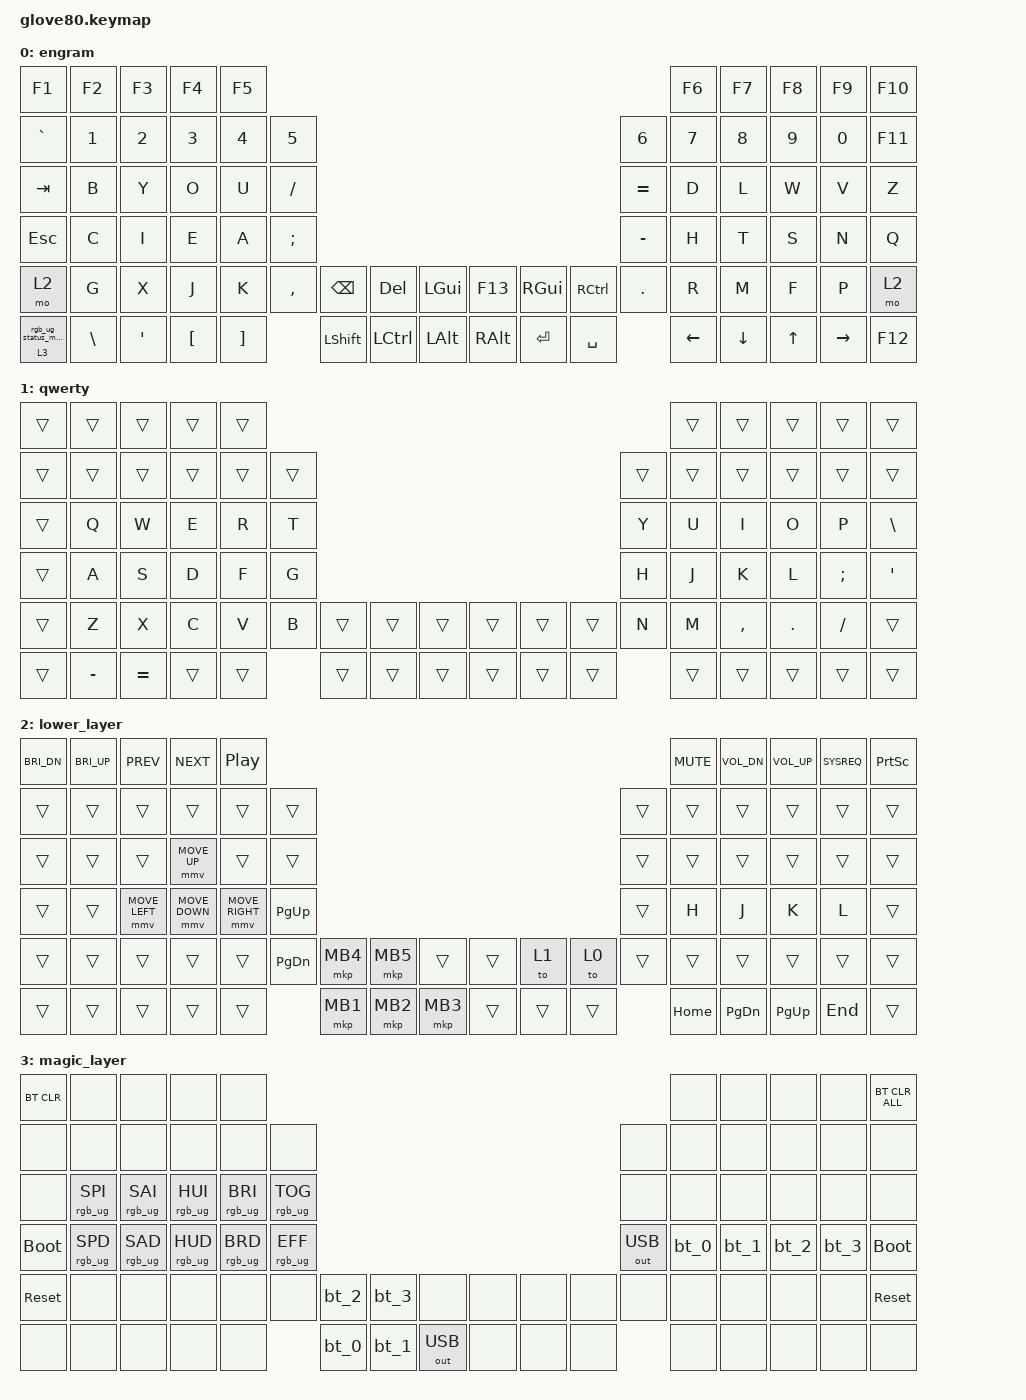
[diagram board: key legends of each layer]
/*
 * Copyright (c) 2020 The ZMK Contributors
 *
 * SPDX-License-Identifier: MIT
 */

#include <behaviors.dtsi>
#include <dt-bindings/zmk/bt.h>
#include <dt-bindings/zmk/keys.h>
#include <dt-bindings/zmk/outputs.h>
#include <dt-bindings/zmk/pointing.h>
#include <dt-bindings/zmk/rgb.h>

#define HYPER LC(LS(LG(LALT)))

// layers

#define DEFAULT 0
#define LOWER 1
#define MAGIC 2
#define FACTORY_TEST 3

/ {
    behaviors {
        // For the "layer" key, it'd nice to be able to use it as either a shift or a toggle.
        // Configure it as a tap dance, so the first tap (or hold) is a &mo and the second tap is a &to

        layer_td: tap_dance_0 {
            compatible = "zmk,behavior-tap-dance";
            label = "LAYER_TAP_DANCE";
            #binding-cells = <0>;
            tapping-term-ms = <200>;
            bindings = <&mo 2>, <&to 2>;
        };

        magic: magic_hold_tap {
            compatible = "zmk,behavior-hold-tap";
            label = "MAGIC_HOLD_TAP";
            #binding-cells = <2>;
            flavor = "tap-preferred";
            tapping-term-ms = <200>;
            bindings = <&mo>, <&rgb_ug_status_macro>;
        };

        skq: sticky_key_quick_release {
            compatible = "zmk,behavior-sticky-key";
            label = "Sticky Key Quick Release";
            bindings = <&kp>;
            #binding-cells = <1>;
            quick-release;
            release-after-ms = <1000>;
        };
    };

    macros {
        rgb_ug_status_macro: rgb_ug_status_macro_0 {
            label = "RGB_UG_STATUS";
            compatible = "zmk,behavior-macro";
            #binding-cells = <0>;
            bindings = <&rgb_ug RGB_STATUS>;
        };

        bt_0: bt_profile_macro_0 {
            label = "BT_0";
            compatible = "zmk,behavior-macro";
            #binding-cells = <0>;
            bindings = <&out OUT_BLE &bt BT_SEL 0>;
        };

        bt_1: bt_profile_macro_1 {
            label = "BT_1";
            compatible = "zmk,behavior-macro";
            #binding-cells = <0>;
            bindings = <&out OUT_BLE &bt BT_SEL 1>;
        };

        bt_2: bt_profile_macro_2 {
            label = "BT_2";
            compatible = "zmk,behavior-macro";
            #binding-cells = <0>;
            bindings = <&out OUT_BLE &bt BT_SEL 2>;
        };

        bt_3: bt_profile_macro_3 {
            label = "BT_3";
            compatible = "zmk,behavior-macro";
            #binding-cells = <0>;
            bindings = <&out OUT_BLE &bt BT_SEL 3>;
        };
    };

    keymap {
        compatible = "zmk,keymap";

        engram {
            bindings = <
&kp F1      &kp F2    &kp F3   &kp F4    &kp F5                                                                                                               &kp F6    &kp F7    &kp F8  &kp F9     &kp F10
&kp GRAVE   &kp N1    &kp N2   &kp N3    &kp N4    &kp N5                                                                                          &kp N6     &kp N7    &kp N8    &kp N9  &kp N0     &kp F11
&kp TAB     &kp B     &kp Y    &kp O     &kp U     &kp FSLH                                                                                        &kp EQUAL  &kp D     &kp L     &kp W   &kp V      &kp Z
&kp ESC     &kp C     &kp I    &kp E     &kp A     &kp SEMI                                                                                        &kp MINUS  &kp H     &kp T     &kp S   &kp N      &kp Q
&mo 2       &kp G     &kp X    &kp J     &kp K     &kp COMMA  &kp BSPC        &kp DEL    &kp LGUI      &kp F13        &kp RGUI  &kp RIGHT_CONTROL  &kp DOT    &kp R     &kp M     &kp F   &kp P      &mo 2
&magic 3 0  &kp BSLH  &kp SQT  &kp LBKT  &kp RBKT             &kp LEFT_SHIFT  &kp LCTRL  &kp LEFT_ALT  &kp RIGHT_ALT  &kp RET   &kp SPACE                     &kp LEFT  &kp DOWN  &kp UP  &kp RIGHT  &kp F12
            >;
        };

        qwerty {
            bindings = <
&trans  &trans     &trans     &trans  &trans                                                                  &trans  &trans     &trans   &trans    &trans
&trans  &trans     &trans     &trans  &trans  &trans                                                  &trans  &trans  &trans     &trans   &trans    &trans
&trans  &kp Q      &kp W      &kp E   &kp R   &kp T                                                   &kp Y   &kp U   &kp I      &kp O    &kp P     &kp BSLH
&trans  &kp A      &kp S      &kp D   &kp F   &kp G                                                   &kp H   &kp J   &kp K      &kp L    &kp SEMI  &kp APOS
&trans  &kp Z      &kp X      &kp C   &kp V   &kp B   &trans  &trans  &trans  &trans  &trans  &trans  &kp N   &kp M   &kp COMMA  &kp DOT  &kp FSLH  &trans
&trans  &kp MINUS  &kp EQUAL  &trans  &trans          &trans  &trans  &trans  &trans  &trans  &trans          &trans  &trans     &trans   &trans    &trans
            >;
        };

        lower_layer {
            bindings = <
&kp C_BRI_DN  &kp C_BRI_UP  &kp C_PREV      &kp C_NEXT      &kp C_PP                                                                                  &kp C_MUTE  &kp C_VOL_DN  &kp C_VOL_UP  &kp SYSREQ  &kp PRINTSCREEN
&trans        &trans        &trans          &trans          &trans           &trans                                                           &trans  &trans      &trans        &trans        &trans      &trans
&trans        &trans        &trans          &mmv MOVE_UP    &trans           &trans                                                           &trans  &trans      &trans        &trans        &trans      &trans
&trans        &trans        &mmv MOVE_LEFT  &mmv MOVE_DOWN  &mmv MOVE_RIGHT  &kp PG_UP                                                        &trans  &kp H       &kp J         &kp K         &kp L       &trans
&trans        &trans        &trans          &trans          &trans           &kp PG_DN  &mkp MB4  &mkp MB5  &trans    &trans  &to 1   &to 0   &trans  &trans      &trans        &trans        &trans      &trans
&trans        &trans        &trans          &trans          &trans                      &mkp MB1  &mkp MB2  &mkp MB3  &trans  &trans  &trans          &kp HOME    &kp PG_DN     &kp PG_UP     &kp END     &trans
            >;
        };

        magic_layer {
            bindings = <
&bt BT_CLR   &none            &none            &none            &none                                                                                            &none  &none  &none  &none  &bt BT_CLR_ALL
&none        &none            &none            &none            &none            &none                                                             &none         &none  &none  &none  &none  &none
&none        &rgb_ug RGB_SPI  &rgb_ug RGB_SAI  &rgb_ug RGB_HUI  &rgb_ug RGB_BRI  &rgb_ug RGB_TOG                                                   &none         &none  &none  &none  &none  &none
&bootloader  &rgb_ug RGB_SPD  &rgb_ug RGB_SAD  &rgb_ug RGB_HUD  &rgb_ug RGB_BRD  &rgb_ug RGB_EFF                                                   &out OUT_USB  &bt_0  &bt_1  &bt_2  &bt_3  &bootloader
&sys_reset   &none            &none            &none            &none            &none            &bt_2  &bt_3  &none         &none  &none  &none  &none         &none  &none  &none  &none  &sys_reset
&none        &none            &none            &none            &none                             &bt_0  &bt_1  &out OUT_USB  &none  &none  &none                &none  &none  &none  &none  &none
            >;
        };
    };
};
